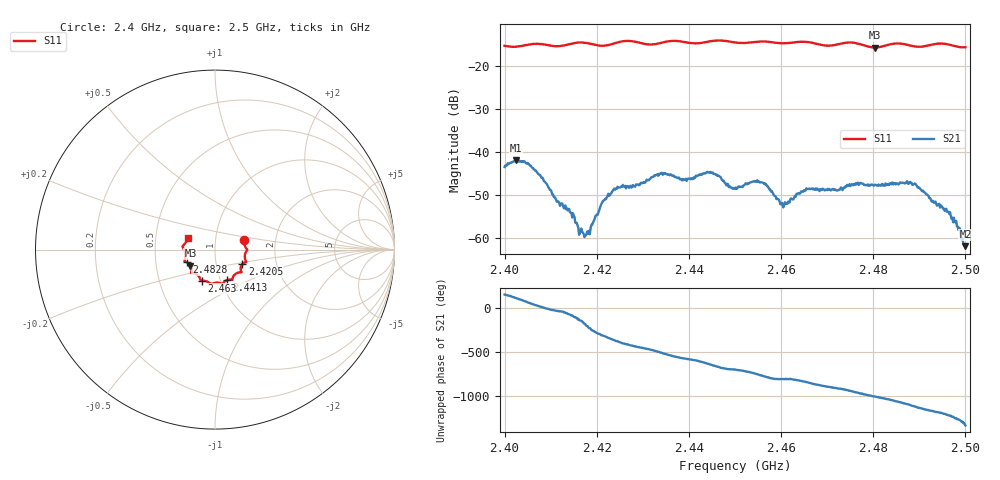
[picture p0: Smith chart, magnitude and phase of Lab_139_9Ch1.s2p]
# Hz S RI R 50
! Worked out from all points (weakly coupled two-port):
!   601 points, 2.4 GHz to 2.5 GHz, reference 50 ohm
!   highest |S21| = -42.01 dB at 2.4025 GHz (marker M1); lowest = -62.0 dB at 2.5 GHz (marker M2)
!   lowest |S11| = -15.7 dB at 2.4803 GHz (marker M3), VSWR 1.39, Z = 37.4 - j6.84 ohm
!   |S11| at or under -10 dB: start of sweep to end of sweep
!   S12 and S22 are empty: the file has one direction only
!   S11 on the Smith chart (normalised r, x): 2.4 GHz: 1.38, +0.15; 2.4205 GHz: 1.34, -0.22; 2.4413 GHz: 1.08, -0.38; 2.463 GHz: 0.82, -0.29; 2.4828 GHz: 0.72, -0.10; 2.5 GHz: 0.73, +0.10
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2.4e9  0.1629 0.0526  -0.00607 0.00272  0 0  0 0
2.4025e9  0.1652 0.0237  -0.0035 0.00712  0 0  0 0
2.407333e9  0.1803 -0.00159  0.00503 0.00218  0 0  0 0
2.4145e9  0.1705 -0.0614  0.000177 -0.00193  0 0  0 0
2.416667e9  0.1735 -0.0697  -0.00107 -0.000698  0 0  0 0
2.418e9  0.1693 -0.0714  -0.00107 0.000506  0 0  0 0
2.4205e9  0.1519 -0.081  0.000793 0.00189  0 0  0 0
2.424e9  0.1439 -0.1143  0.00356 -0.000627  0 0  0 0
2.433333e9  0.1005 -0.1515  -0.00395 -0.00344  0 0  0 0
2.441333e9  0.0675 -0.1697  -0.00278 0.00416  0 0  0 0
2.445167e9  0.0432 -0.1902  0.00216 0.0053  0 0  0 0
2.45e9  0.0247 -0.1857  0.00347 0.00123  0 0  0 0
2.454667e9  -0.0148 -0.1899  0.0038 -0.00234  0 0  0 0
2.460167e9  -0.0479 -0.1767  -1.98e-05 -0.00254  0 0  0 0
2.463e9  -0.0721 -0.1734  -0.000373 -0.00303  0 0  0 0
2.466667e9  -0.0815 -0.1672  -0.00289 -0.00235  0 0  0 0
2.480333e9  -0.1371 -0.0889  0.00133 0.0039  0 0  0 0
2.482833e9  -0.1586 -0.0701  0.00299 0.00274  0 0  0 0
2.483333e9  -0.1624 -0.0684  0.00318 0.00257  0 0  0 0
2.4895e9  -0.1644 -0.0293  0.00242 -0.00313  0 0  0 0
2.496333e9  -0.1757 0.0246  -0.00164 -0.00115  0 0  0 0
2.5e9  -0.152 0.0638  -0.000136 0.000783  0 0  0 0
